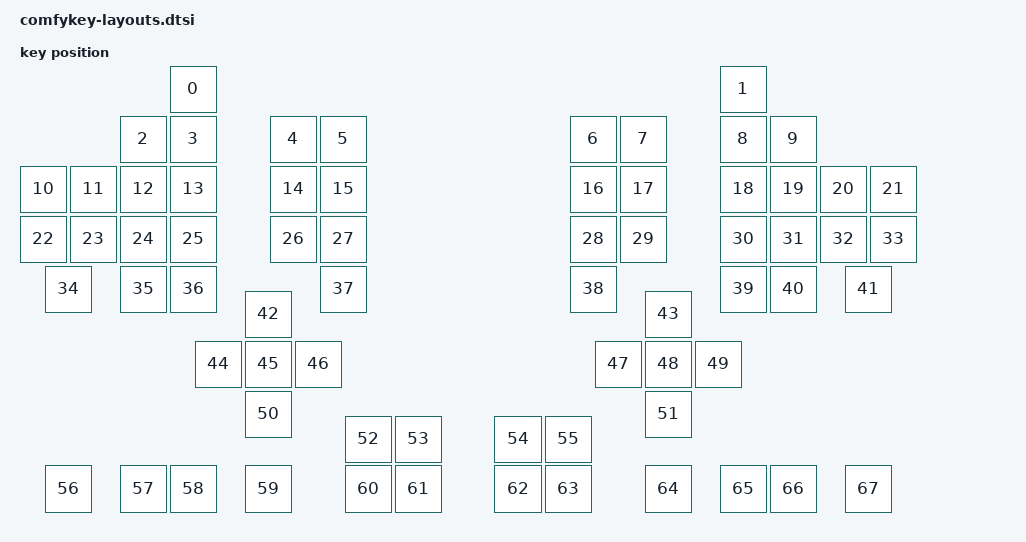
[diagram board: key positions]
#include <physical_layouts.dtsi>

    / {
    physical_layout0: physical_layout_0 {
        compatible = "zmk,physical-layout";
        display-name = "Comfykey";

         keys  //                     w   h    x    y     rot    rx    ry
            = <&key_physical_attrs 100 100  300    0       0     0     0>
            ,<&key_physical_attrs 100 100 1400    0       0     0     0>
            ,<&key_physical_attrs 100 100  200  100       0     0     0>
            ,<&key_physical_attrs 100 100  300  100       0     0     0>
            ,<&key_physical_attrs 100 100  500  100       0     0     0>
            ,<&key_physical_attrs 100 100  600  100       0     0     0>
            ,<&key_physical_attrs 100 100 1100  100       0     0     0>
            ,<&key_physical_attrs 100 100 1200  100       0     0     0>
            ,<&key_physical_attrs 100 100 1400  100       0     0     0>
            ,<&key_physical_attrs 100 100 1500  100       0     0     0>
            ,<&key_physical_attrs 100 100    0  200       0     0     0>
            ,<&key_physical_attrs 100 100  100  200       0     0     0>
            ,<&key_physical_attrs 100 100  200  200       0     0     0>
            ,<&key_physical_attrs 100 100  300  200       0     0     0>
            ,<&key_physical_attrs 100 100  500  200       0     0     0>
            ,<&key_physical_attrs 100 100  600  200       0     0     0>
            ,<&key_physical_attrs 100 100 1100  200       0     0     0>
            ,<&key_physical_attrs 100 100 1200  200       0     0     0>
            ,<&key_physical_attrs 100 100 1400  200       0     0     0>
            ,<&key_physical_attrs 100 100 1500  200       0     0     0>
            ,<&key_physical_attrs 100 100 1600  200       0     0     0>
            ,<&key_physical_attrs 100 100 1700  200       0     0     0>
            ,<&key_physical_attrs 100 100    0  300       0     0     0>
            ,<&key_physical_attrs 100 100  100  300       0     0     0>
            ,<&key_physical_attrs 100 100  200  300       0     0     0>
            ,<&key_physical_attrs 100 100  300  300       0     0     0>
            ,<&key_physical_attrs 100 100  500  300       0     0     0>
            ,<&key_physical_attrs 100 100  600  300       0     0     0>
            ,<&key_physical_attrs 100 100 1100  300       0     0     0>
            ,<&key_physical_attrs 100 100 1200  300       0     0     0>
            ,<&key_physical_attrs 100 100 1400  300       0     0     0>
            ,<&key_physical_attrs 100 100 1500  300       0     0     0>
            ,<&key_physical_attrs 100 100 1600  300       0     0     0>
            ,<&key_physical_attrs 100 100 1700  300       0     0     0>
            ,<&key_physical_attrs 100 100   50  400       0     0     0>
            ,<&key_physical_attrs 100 100  200  400       0     0     0>
            ,<&key_physical_attrs 100 100  300  400       0     0     0>
            ,<&key_physical_attrs 100 100  600  400       0     0     0>
            ,<&key_physical_attrs 100 100 1100  400       0     0     0>
            ,<&key_physical_attrs 100 100 1400  400       0     0     0>
            ,<&key_physical_attrs 100 100 1500  400       0     0     0>
            ,<&key_physical_attrs 100 100 1650  400       0     0     0>
            ,<&key_physical_attrs 100 100  450  450       0     0     0>
            ,<&key_physical_attrs 100 100 1250  450       0     0     0>
            ,<&key_physical_attrs 100 100  350  550       0     0     0>
            ,<&key_physical_attrs 100 100  450  550       0     0     0>
            ,<&key_physical_attrs 100 100  550  550       0     0     0>
            ,<&key_physical_attrs 100 100 1150  550       0     0     0>
            ,<&key_physical_attrs 100 100 1250  550       0     0     0>
            ,<&key_physical_attrs 100 100 1350  550       0     0     0>
            ,<&key_physical_attrs 100 100  450  650       0     0     0>
            ,<&key_physical_attrs 100 100 1250  650       0     0     0>
            ,<&key_physical_attrs 100 100  650  700       0     0     0>
            ,<&key_physical_attrs 100 100  750  700       0     0     0>
            ,<&key_physical_attrs 100 100  950  700       0     0     0>
            ,<&key_physical_attrs 100 100 1050  700       0     0     0>
            ,<&key_physical_attrs 100 100   50  800       0     0     0>
            ,<&key_physical_attrs 100 100  200  800       0     0     0>
            ,<&key_physical_attrs 100 100  300  800       0     0     0>
            ,<&key_physical_attrs 100 100  450  800       0     0     0>
            ,<&key_physical_attrs 100 100  650  800       0     0     0>
            ,<&key_physical_attrs 100 100  750  800       0     0     0>
            ,<&key_physical_attrs 100 100  950  800       0     0     0>
            ,<&key_physical_attrs 100 100 1050  800       0     0     0>
            ,<&key_physical_attrs 100 100 1250  800       0     0     0>
            ,<&key_physical_attrs 100 100 1400  800       0     0     0>
            ,<&key_physical_attrs 100 100 1500  800       0     0     0>
            ,<&key_physical_attrs 100 100 1650  800       0     0     0>
            ;
    };
};
